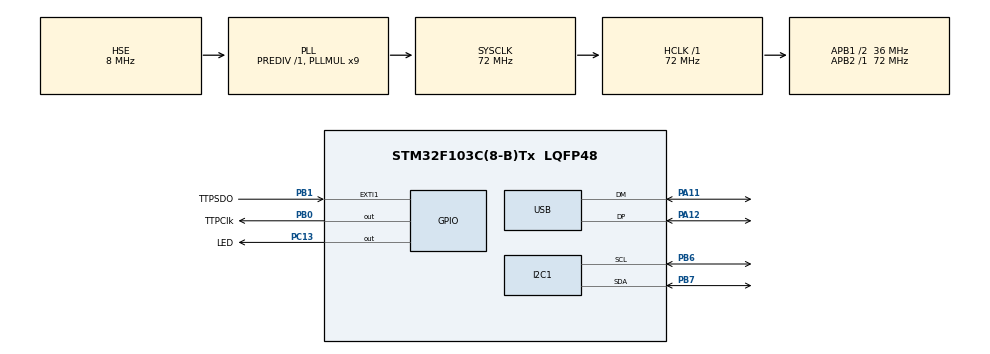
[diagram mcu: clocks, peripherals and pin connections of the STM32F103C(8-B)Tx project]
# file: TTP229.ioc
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I2C1.I2C_Mode=I2C_Fast
IWDG.Prescaler=IWDG_PRESCALER_32
IWDG.Reload=2500
Mcu.Family=STM32F1
Mcu.Name=STM32F103C(8-B)Tx
Mcu.Package=LQFP48
NVIC.EXTI1_IRQn=true\:0\:0\:false\:false\:true\:true\:true\:true
NVIC.I2C1_ER_IRQn=true\:0\:0\:false\:false\:true\:true\:true\:true
NVIC.I2C1_EV_IRQn=true\:0\:0\:false\:false\:true\:true\:true\:true
NVIC.PriorityGroup=NVIC_PRIORITYGROUP_4
NVIC.RCC_IRQn=true\:0\:0\:false\:false\:true\:true\:false\:true
NVIC.USB_LP_CAN1_RX0_IRQn=true\:0\:0\:false\:false\:true\:false\:true\:true
PA11.Mode=Device
PA11.Signal=USB_DM
PA12.Mode=Device
PA12.Signal=USB_DP
PA13.Mode=Serial_Wire
PA13.Signal=SYS_JTMS-SWDIO
PA14.Mode=Serial_Wire
PA14.Signal=SYS_JTCK-SWCLK
PB0.GPIO_Label=TTPClk
PB0.GPIO_Speed=GPIO_SPEED_FREQ_HIGH
PB0.Signal=GPIO_Output
PB1.GPIO_Label=TTPSDO
PB1.GPIO_ModeDefaultEXTI=GPIO_MODE_IT_RISING
PB1.GPIO_PuPd=GPIO_PULLDOWN
PB1.Signal=GPXTI1
PB6.Mode=I2C
PB6.Signal=I2C1_SCL
PB7.Mode=I2C
PB7.Signal=I2C1_SDA
PC13-TAMPER-RTC.GPIO_Label=LED
PC13-TAMPER-RTC.GPIO_Speed=GPIO_SPEED_FREQ_HIGH
PC13-TAMPER-RTC.Signal=GPIO_Output
PD0-OSC_IN.Mode=HSE-External-Oscillator
PD0-OSC_IN.Signal=RCC_OSC_IN
PD1-OSC_OUT.Mode=HSE-External-Oscillator
PD1-OSC_OUT.Signal=RCC_OSC_OUT
ProjectManager.HeapSize=0x200
ProjectManager.StackSize=0x400
ProjectManager.TargetToolchain=MDK-ARM V5.32
RCC.AHBFreq_Value=72000000
RCC.APB1CLKDivider=RCC_HCLK_DIV2
RCC.APB1Freq_Value=36000000
RCC.APB1TimFreq_Value=72000000
RCC.APB2Freq_Value=72000000
RCC.APB2TimFreq_Value=72000000
RCC.EnbaleCSS=true
RCC.HCLKFreq_Value=72000000
RCC.PLLMUL=RCC_PLL_MUL9
RCC.PLLSourceVirtual=RCC_PLLSOURCE_HSE
RCC.SYSCLKFreq_VALUE=72000000
RCC.SYSCLKSource=RCC_SYSCLKSOURCE_PLLCLK
RCC.USBFreq_Value=48000000
RCC.USBPrescaler=RCC_USBCLKSOURCE_PLL_DIV1_5
TIM4.AutoReloadPreload=TIM_AUTORELOAD_PRELOAD_ENABLE
TIM4.Period=72 - 1
TIM4.Prescaler=1 - 1
USB_DEVICE.CLASS_NAME_FS=CDC
USB_DEVICE.VirtualMode=Cdc
USB_DEVICE.VirtualModeFS=Cdc_FS
VP_IWDG_VS_IWDG.Mode=IWDG_Activate
VP_TIM4_VS_ClockSourceINT.Mode=Internal
VP_USB_DEVICE_VS_USB_DEVICE_CDC_FS.Mode=CDC_FS
board=custom

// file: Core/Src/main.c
/* USER CODE BEGIN Header */
/**
  ******************************************************************************
  * @file           : main.c
  * @brief          : Main program body
  ******************************************************************************
  * @attention
  *
  * Copyright (c) 2025 STMicroelectronics.
  * All rights reserved.
  *
  * This software is licensed under terms that can be found in the LICENSE file
  * in the root directory of this software component.
  * If no LICENSE file comes with this software, it is provided AS-IS.
  *
  ******************************************************************************
  */
/* USER CODE END Header */
#include "main.h"
#include "usb_device.h"

/* USER CODE BEGIN Includes */
#include "usbd_cdc_if.h"
#include "dwt_stm32_delay.h"
#include "ssd1306.hpp"
/* USER CODE END Includes */

I2C_HandleTypeDef hi2c1;

IWDG_HandleTypeDef hiwdg;

TIM_HandleTypeDef htim4;

/* USER CODE BEGIN PV */
uint32_t nextLedTime,nextKeyRead;
uint16_t ttpState;
uint8_t flag;
uint8_t key_array[16],Buffer[200];
SSD1306_OLED OLED(&hi2c1);
/* USER CODE END PV */

void SystemClock_Config(void);
static void MX_GPIO_Init(void);
static void MX_I2C1_Init(void);
static void MX_IWDG_Init(void);
static void MX_TIM4_Init(void);
/* USER CODE BEGIN PFP */
void delay_us(uint32_t us);
uint16_t TTP229_ReadKeys(void);
void putStrUSB(uint8_t *Buf,uint32_t len = 0);
/* USER CODE END PFP */

/* USER CODE BEGIN 0 */
void USBRcv(uint8_t* Buf, uint16_t Len)
{
	sprintf((char*)(Buffer),"RCV : %s",(char*)(Buf));
	putStrUSB(Buffer);
}

void HAL_GPIO_EXTI_Callback(uint16_t GPIO_Pin)
{
//  if(GPIO_Pin == TTPSDO_Pin)
//	{
//		if(flag == 0)
//		{
//			flag = 1;
//		}
//	}
}

void delay_us(uint32_t us)
{
	__HAL_TIM_SetCounter(&htim4,0);

    while (__HAL_TIM_GET_COUNTER(&htim4) < us);
}

uint16_t TTP229_ReadKeys(void)
{
    uint16_t keys = 0;

    for (uint8_t i = 0; i < 16; i++)
    {
        // CLK HIGH
        HAL_GPIO_WritePin(TTPClk_GPIO_Port, TTPClk_Pin, GPIO_PIN_SET);
        delay_us(4);   // High time

        // Read DATA (LSB first)
        if (HAL_GPIO_ReadPin(TTPSDO_GPIO_Port, TTPSDO_Pin) == GPIO_PIN_SET)
        {
            keys |= (1 << i);
        }

        // CLK LOW
        HAL_GPIO_WritePin(TTPClk_GPIO_Port, TTPClk_Pin, GPIO_PIN_RESET);
        delay_us(4);   // Low time
    }

		for (uint8_t i = 0; i < 16; i++)
    {
        key_array[i] = (keys >> i) & 0x01;

    }
    return keys;
}
/* USER CODE END 0 */

int main(void)
{

  /* MCU Configuration--------------------------------------------------------*/

  /* Reset of all peripherals, Initializes the Flash interface and the Systick. */
  HAL_Init();

  /* Configure the system clock */
  SystemClock_Config();

  /* Initialize all configured peripherals */
  MX_GPIO_Init();
  MX_I2C1_Init();
  MX_IWDG_Init();
  MX_TIM4_Init();
  MX_USB_DEVICE_Init();
  /* USER CODE BEGIN 2 */
	HAL_TIM_Base_Start_IT(&htim4);
	nextLedTime = HAL_GetTick() + 500;
	nextKeyRead = HAL_GetTick() + 50;
	flag = 0;
	DWT_Delay_Init();
	HAL_IWDG_Refresh(&hiwdg);
	OLED.Init();
	OLED.Fill(Black);
	OLED.UpdateScreen();
	HAL_IWDG_Refresh(&hiwdg);
  /* USER CODE END 2 */

  /* Infinite loop */
  /* USER CODE BEGIN WHILE */
  while (1)
  {
		HAL_IWDG_Refresh(&hiwdg);
		if(HAL_GetTick() >= nextLedTime && nextLedTime != 0)
		{
			HAL_GPIO_TogglePin(LED_GPIO_Port,LED_Pin);
			nextLedTime = HAL_GetTick() + 500;
			sprintf((char *)Buffer,"NE : %07d", nextLedTime);
			OLED.SetCursor(0,30);
			OLED.WriteString(Buffer,Font_7x10,White,true);
			OLED.UpdateScreen();
		}
		if(nextKeyRead >= HAL_GetTick())
		{
			nextKeyRead = HAL_GetTick() + 50;
			//HAL_NVIC_DisableIRQ(TTPSDO_EXTI_IRQn);
			ttpState = TTP229_ReadKeys();
			sprintf((char *)Buffer,"0x%04X\r\n",ttpState);
			//HAL_NVIC_EnableIRQ(TTPSDO_EXTI_IRQn);
			putStrUSB(Buffer);
			flag = 0;
		}
    /* USER CODE END WHILE */

  }
}

void SystemClock_Config(void)
{
  RCC_OscInitTypeDef RCC_OscInitStruct = {0};
  RCC_ClkInitTypeDef RCC_ClkInitStruct = {0};
  RCC_PeriphCLKInitTypeDef PeriphClkInit = {0};

  /** Initializes the RCC Oscillators according to the specified parameters
  * in the RCC_OscInitTypeDef structure.
  */
  RCC_OscInitStruct.OscillatorType = RCC_OSCILLATORTYPE_LSI|RCC_OSCILLATORTYPE_HSE;
  RCC_OscInitStruct.HSEState = RCC_HSE_ON;
  RCC_OscInitStruct.HSEPredivValue = RCC_HSE_PREDIV_DIV1;
  RCC_OscInitStruct.HSIState = RCC_HSI_ON;
  RCC_OscInitStruct.LSIState = RCC_LSI_ON;
  RCC_OscInitStruct.PLL.PLLState = RCC_PLL_ON;
  RCC_OscInitStruct.PLL.PLLSource = RCC_PLLSOURCE_HSE;
  RCC_OscInitStruct.PLL.PLLMUL = RCC_PLL_MUL9;
  if (HAL_RCC_OscConfig(&RCC_OscInitStruct) != HAL_OK)
  {
    Error_Handler();
  }

  /** Initializes the CPU, AHB and APB buses clocks
  */
  RCC_ClkInitStruct.ClockType = RCC_CLOCKTYPE_HCLK|RCC_CLOCKTYPE_SYSCLK
                              |RCC_CLOCKTYPE_PCLK1|RCC_CLOCKTYPE_PCLK2;
  RCC_ClkInitStruct.SYSCLKSource = RCC_SYSCLKSOURCE_PLLCLK;
  RCC_ClkInitStruct.AHBCLKDivider = RCC_SYSCLK_DIV1;
  RCC_ClkInitStruct.APB1CLKDivider = RCC_HCLK_DIV2;
  RCC_ClkInitStruct.APB2CLKDivider = RCC_HCLK_DIV1;

  if (HAL_RCC_ClockConfig(&RCC_ClkInitStruct, FLASH_LATENCY_2) != HAL_OK)
  {
    Error_Handler();
  }
  PeriphClkInit.PeriphClockSelection = RCC_PERIPHCLK_USB;
  PeriphClkInit.UsbClockSelection = RCC_USBCLKSOURCE_PLL_DIV1_5;
  if (HAL_RCCEx_PeriphCLKConfig(&PeriphClkInit) != HAL_OK)
  {
    Error_Handler();
  }

  /** Enables the Clock Security System
  */
  HAL_RCC_EnableCSS();
}

static void MX_I2C1_Init(void)
{

  hi2c1.Instance = I2C1;
  hi2c1.Init.ClockSpeed = 400000;
  hi2c1.Init.DutyCycle = I2C_DUTYCYCLE_2;
  hi2c1.Init.OwnAddress1 = 0;
  hi2c1.Init.AddressingMode = I2C_ADDRESSINGMODE_7BIT;
  hi2c1.Init.DualAddressMode = I2C_DUALADDRESS_DISABLE;
  hi2c1.Init.OwnAddress2 = 0;
  hi2c1.Init.GeneralCallMode = I2C_GENERALCALL_DISABLE;
  hi2c1.Init.NoStretchMode = I2C_NOSTRETCH_DISABLE;
  if (HAL_I2C_Init(&hi2c1) != HAL_OK)
  {
    Error_Handler();
  }

}

static void MX_IWDG_Init(void)
{

  hiwdg.Instance = IWDG;
  hiwdg.Init.Prescaler = IWDG_PRESCALER_32;
  hiwdg.Init.Reload = 2500;
  if (HAL_IWDG_Init(&hiwdg) != HAL_OK)
  {
    Error_Handler();
  }

}

static void MX_TIM4_Init(void)
{

  TIM_ClockConfigTypeDef sClockSourceConfig = {0};
  TIM_MasterConfigTypeDef sMasterConfig = {0};

  htim4.Instance = TIM4;
  htim4.Init.Prescaler = 1 - 1;
  htim4.Init.CounterMode = TIM_COUNTERMODE_UP;
  htim4.Init.Period = 72 - 1;
  htim4.Init.ClockDivision = TIM_CLOCKDIVISION_DIV1;
  htim4.Init.AutoReloadPreload = TIM_AUTORELOAD_PRELOAD_ENABLE;
  if (HAL_TIM_Base_Init(&htim4) != HAL_OK)
  {
    Error_Handler();
  }
  sClockSourceConfig.ClockSource = TIM_CLOCKSOURCE_INTERNAL;
  if (HAL_TIM_ConfigClockSource(&htim4, &sClockSourceConfig) != HAL_OK)
  {
    Error_Handler();
  }
  sMasterConfig.MasterOutputTrigger = TIM_TRGO_RESET;
  sMasterConfig.MasterSlaveMode = TIM_MASTERSLAVEMODE_DISABLE;
  if (HAL_TIMEx_MasterConfigSynchronization(&htim4, &sMasterConfig) != HAL_OK)
  {
    Error_Handler();
  }

}

static void MX_GPIO_Init(void)
{
  GPIO_InitTypeDef GPIO_InitStruct = {0};

  /* GPIO Ports Clock Enable */
  __HAL_RCC_GPIOC_CLK_ENABLE();
  __HAL_RCC_GPIOD_CLK_ENABLE();
  __HAL_RCC_GPIOB_CLK_ENABLE();
  __HAL_RCC_GPIOA_CLK_ENABLE();

  /*Configure GPIO pin Output Level */
  HAL_GPIO_WritePin(LED_GPIO_Port, LED_Pin, GPIO_PIN_RESET);

  /*Configure GPIO pin Output Level */
  HAL_GPIO_WritePin(TTPClk_GPIO_Port, TTPClk_Pin, GPIO_PIN_RESET);

  /*Configure GPIO pin : LED_Pin */
  GPIO_InitStruct.Pin = LED_Pin;
  GPIO_InitStruct.Mode = GPIO_MODE_OUTPUT_PP;
  GPIO_InitStruct.Pull = GPIO_NOPULL;
  GPIO_InitStruct.Speed = GPIO_SPEED_FREQ_HIGH;
  HAL_GPIO_Init(LED_GPIO_Port, &GPIO_InitStruct);

  /*Configure GPIO pin : TTPClk_Pin */
  GPIO_InitStruct.Pin = TTPClk_Pin;
  GPIO_InitStruct.Mode = GPIO_MODE_OUTPUT_PP;
  GPIO_InitStruct.Pull = GPIO_NOPULL;
  GPIO_InitStruct.Speed = GPIO_SPEED_FREQ_HIGH;
  HAL_GPIO_Init(TTPClk_GPIO_Port, &GPIO_InitStruct);

  /*Configure GPIO pin : TTPSDO_Pin */
  GPIO_InitStruct.Pin = TTPSDO_Pin;
  GPIO_InitStruct.Mode = GPIO_MODE_IT_RISING;
  GPIO_InitStruct.Pull = GPIO_PULLDOWN;
  HAL_GPIO_Init(TTPSDO_GPIO_Port, &GPIO_InitStruct);

  /* EXTI interrupt init*/
  HAL_NVIC_SetPriority(EXTI1_IRQn, 0, 0);
  HAL_NVIC_EnableIRQ(EXTI1_IRQn);

}

/* USER CODE BEGIN 4 */
void putStrUSB(uint8_t *Buf,uint32_t len)
{
	if (len == 0)
	{
		while(Buf[len] != NULL)
		{
			len++;
		}
	}

	CDC_Transmit_FS(Buf,len);
}

/* USER CODE END 4 */

void Error_Handler(void)
{
  __disable_irq();
  while (1)
  {
  }
}
